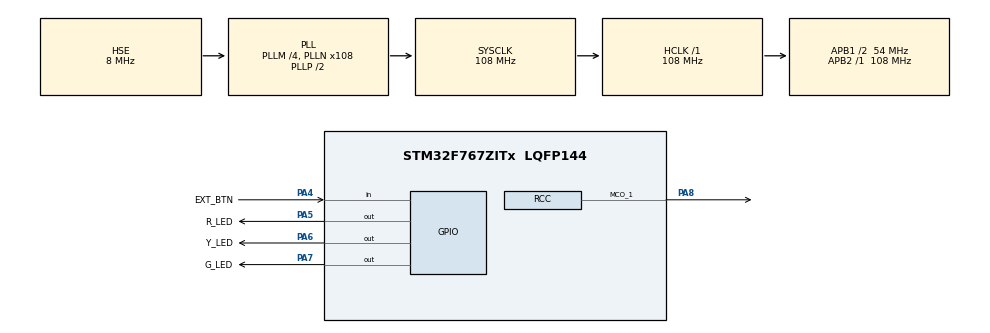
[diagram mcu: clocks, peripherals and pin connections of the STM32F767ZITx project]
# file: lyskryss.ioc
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Mcu.Family=STM32F7
Mcu.Name=STM32F767ZITx
Mcu.Package=LQFP144
NVIC.PriorityGroup=NVIC_PRIORITYGROUP_4
PA4.GPIO_Label=EXT_BTN
PA4.Signal=GPIO_Input
PA5.GPIO_Label=R_LED
PA5.Signal=GPIO_Output
PA6.GPIO_Label=Y_LED
PA6.Signal=GPIO_Output
PA7.GPIO_Label=G_LED
PA7.Signal=GPIO_Output
PA8.Mode=Clock-out-1
PA8.Signal=RCC_MCO_1
PH0/OSC_IN.Mode=HSE-External-Oscillator
PH0/OSC_IN.Signal=RCC_OSC_IN
PH1/OSC_OUT.Mode=HSE-External-Oscillator
PH1/OSC_OUT.Signal=RCC_OSC_OUT
ProjectManager.HeapSize=0x200
ProjectManager.StackSize=0x400
ProjectManager.TargetToolchain=STM32CubeIDE
RCC.48MHZClocksFreq_Value=24000000
RCC.AHBFreq_Value=108000000
RCC.APB1CLKDivider=RCC_HCLK_DIV2
RCC.APB1Freq_Value=54000000
RCC.APB1TimFreq_Value=108000000
RCC.APB2Freq_Value=108000000
RCC.APB2TimFreq_Value=108000000
RCC.CortexFreq_Value=108000000
RCC.HCLKFreq_Value=108000000
RCC.HSE_VALUE=8000000
RCC.HSI_VALUE=16000000
RCC.LSE_VALUE=32768
RCC.PLLM=4
RCC.PLLMUL=RCC_PLL_MUL9
RCC.PLLN=108
RCC.PLLSourceVirtual=RCC_PLLSOURCE_HSE
RCC.PRESCALERUSB=RCC_USBCLKSOURCE_PLL_DIV1_5
RCC.SYSCLKFreq_VALUE=108000000
RCC.SYSCLKSource=RCC_SYSCLKSOURCE_PLLCLK
RCC.SYSCLKSourceVirtual=RCC_SYSCLKSOURCE_PLLCLK
RCC.USBFreq_Value=108000000
RCC.VCOOutputFreq_Value=216000000
TIM2.Prescaler=54-1
VP_TIM2_VS_ClockSourceINT.Mode=Internal
board=NUCLEO-F767ZI

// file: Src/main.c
/* USER CODE BEGIN Header */
/**
  ******************************************************************************
  * @file           : main.c
  * @brief          : Main program body
  ******************************************************************************
  * @attention
  *
  * Copyright (c) 2025 STMicroelectronics.
  * All rights reserved.
  *
  * This software is licensed under terms that can be found in the LICENSE file
  * in the root directory of this software component.
  * If no LICENSE file comes with this software, it is provided AS-IS.
  *
  ******************************************************************************
  */
/* USER CODE END Header */
#include "main.h"
#include <stdlib.h>

TIM_HandleTypeDef htim2;

void SystemClock_Config(void);
static void MX_GPIO_Init(void);
static void MX_TIM2_Init(void);

/* USER CODE BEGIN 0 */

void delay_ms(uint32_t ms)
{
  __HAL_TIM_SET_COUNTER(&htim2, 0);
  while (__HAL_TIM_GET_COUNTER(&htim2) < ms * 1000);
}

/* USER CODE END 0 */

int main(void)
{

  /* MCU Configuration--------------------------------------------------------*/

  /* Reset of all peripherals, Initializes the Flash interface and the Systick. */
  HAL_Init();

  /* Configure the system clock */
  SystemClock_Config();

  /* Initialize all configured peripherals */
  MX_GPIO_Init();
  MX_TIM2_Init();
  /* USER CODE BEGIN 2 */

  HAL_TIM_Base_Start(&htim2);
  //Passer på at alle lys er av før enn startar
  HAL_GPIO_WritePin(GPIOA, R_LED_Pin|Y_LED_Pin|G_LED_Pin, GPIO_PIN_RESET);

  /* USER CODE END 2 */

  /* Infinite loop */
  while (1)
  {

    /* USER CODE BEGIN 3 */
    // === Rød ===
    HAL_GPIO_WritePin(GPIOA, R_LED_Pin, GPIO_PIN_SET);     // Rød på
    HAL_GPIO_WritePin(GPIOA, Y_LED_Pin | G_LED_Pin, GPIO_PIN_RESET);   // Gul og Grønn av

    uint32_t rTime = 20000; // 20s
    uint32_t elapsed = 0;
    while (elapsed < rTime) {
        if (HAL_GPIO_ReadPin(GPIOA, EXT_BTN_Pin) == GPIO_PIN_SET) {
            rTime += 10000; // 10s
        }
        delay_ms(100);
        elapsed += 100;
    }

    // === Rød + Gul ===
    HAL_GPIO_WritePin(GPIOA, R_LED_Pin | Y_LED_Pin, GPIO_PIN_SET);     // Rød og Gul på
    HAL_GPIO_WritePin(GPIOA, G_LED_Pin, GPIO_PIN_RESET);   // Grønn av
    delay_ms(5000); // 5s

    // === Grønn ===
    HAL_GPIO_WritePin(GPIOA, R_LED_Pin | Y_LED_Pin, GPIO_PIN_RESET);   // Rød og Gul av
    HAL_GPIO_WritePin(GPIOA, G_LED_Pin, GPIO_PIN_SET);     // Grønn på

    uint32_t gTime = 10000; // 10s
    elapsed = 0;
    int extPressed = 0;
    while (elapsed < gTime) {
        if (HAL_GPIO_ReadPin(GPIOA, EXT_BTN_Pin) == GPIO_PIN_SET) {
            extPressed = 1;
            break;
        }
        delay_ms(100);
        elapsed += 100;
    }

    if (extPressed) {
        // Pedestrian pressed during green
        HAL_GPIO_WritePin(GPIOA, R_LED_Pin, GPIO_PIN_RESET);   // Rød av
        HAL_GPIO_WritePin(GPIOA, Y_LED_Pin | G_LED_Pin, GPIO_PIN_SET);     // Gul og Grønn på
        delay_ms(5000); // 5s

        HAL_GPIO_WritePin(GPIOA, R_LED_Pin, GPIO_PIN_SET);     // Rød På
        HAL_GPIO_WritePin(GPIOA, Y_LED_Pin | G_LED_Pin, GPIO_PIN_RESET);   // Gul og Grønn av
        delay_ms(20000);  // 20s
    }
  }
  /* USER CODE END 3 */
}

void SystemClock_Config(void)
{
  RCC_OscInitTypeDef RCC_OscInitStruct = {0};
  RCC_ClkInitTypeDef RCC_ClkInitStruct = {0};

  /** Configure the main internal regulator output voltage
  */
  __HAL_RCC_PWR_CLK_ENABLE();
  __HAL_PWR_VOLTAGESCALING_CONFIG(PWR_REGULATOR_VOLTAGE_SCALE3);

  /** Initializes the RCC Oscillators according to the specified parameters
  * in the RCC_OscInitTypeDef structure.
  */
  RCC_OscInitStruct.OscillatorType = RCC_OSCILLATORTYPE_HSI|RCC_OSCILLATORTYPE_HSE;
  RCC_OscInitStruct.HSEState = RCC_HSE_ON;
  RCC_OscInitStruct.HSIState = RCC_HSI_ON;
  RCC_OscInitStruct.HSICalibrationValue = RCC_HSICALIBRATION_DEFAULT;
  RCC_OscInitStruct.PLL.PLLState = RCC_PLL_ON;
  RCC_OscInitStruct.PLL.PLLSource = RCC_PLLSOURCE_HSE;
  RCC_OscInitStruct.PLL.PLLM = 4;
  RCC_OscInitStruct.PLL.PLLN = 108;
  RCC_OscInitStruct.PLL.PLLP = RCC_PLLP_DIV2;
  RCC_OscInitStruct.PLL.PLLQ = 2;
  RCC_OscInitStruct.PLL.PLLR = 2;
  if (HAL_RCC_OscConfig(&RCC_OscInitStruct) != HAL_OK)
  {
    Error_Handler();
  }

  /** Activate the Over-Drive mode
  */
  if (HAL_PWREx_EnableOverDrive() != HAL_OK)
  {
    Error_Handler();
  }

  /** Initializes the CPU, AHB and APB buses clocks
  */
  RCC_ClkInitStruct.ClockType = RCC_CLOCKTYPE_HCLK|RCC_CLOCKTYPE_SYSCLK
                              |RCC_CLOCKTYPE_PCLK1|RCC_CLOCKTYPE_PCLK2;
  RCC_ClkInitStruct.SYSCLKSource = RCC_SYSCLKSOURCE_PLLCLK;
  RCC_ClkInitStruct.AHBCLKDivider = RCC_SYSCLK_DIV1;
  RCC_ClkInitStruct.APB1CLKDivider = RCC_HCLK_DIV2;
  RCC_ClkInitStruct.APB2CLKDivider = RCC_HCLK_DIV1;

  if (HAL_RCC_ClockConfig(&RCC_ClkInitStruct, FLASH_LATENCY_3) != HAL_OK)
  {
    Error_Handler();
  }
  HAL_RCC_MCOConfig(RCC_MCO1, RCC_MCO1SOURCE_HSI, RCC_MCODIV_1);
}

static void MX_TIM2_Init(void)
{

  TIM_ClockConfigTypeDef sClockSourceConfig = {0};
  TIM_MasterConfigTypeDef sMasterConfig = {0};

  htim2.Instance = TIM2;
  htim2.Init.Prescaler = 54-1;
  htim2.Init.CounterMode = TIM_COUNTERMODE_UP;
  htim2.Init.Period = 4294967295;
  htim2.Init.ClockDivision = TIM_CLOCKDIVISION_DIV1;
  htim2.Init.AutoReloadPreload = TIM_AUTORELOAD_PRELOAD_DISABLE;
  if (HAL_TIM_Base_Init(&htim2) != HAL_OK)
  {
    Error_Handler();
  }
  sClockSourceConfig.ClockSource = TIM_CLOCKSOURCE_INTERNAL;
  if (HAL_TIM_ConfigClockSource(&htim2, &sClockSourceConfig) != HAL_OK)
  {
    Error_Handler();
  }
  sMasterConfig.MasterOutputTrigger = TIM_TRGO_RESET;
  sMasterConfig.MasterSlaveMode = TIM_MASTERSLAVEMODE_DISABLE;
  if (HAL_TIMEx_MasterConfigSynchronization(&htim2, &sMasterConfig) != HAL_OK)
  {
    Error_Handler();
  }

}

static void MX_GPIO_Init(void)
{
  GPIO_InitTypeDef GPIO_InitStruct = {0};

  /* GPIO Ports Clock Enable */
  __HAL_RCC_GPIOH_CLK_ENABLE();
  __HAL_RCC_GPIOA_CLK_ENABLE();

  /*Configure GPIO pin Output Level */
  HAL_GPIO_WritePin(GPIOA, R_LED_Pin|Y_LED_Pin|G_LED_Pin, GPIO_PIN_RESET);

  /*Configure GPIO pin : EXT_BTN_Pin */
  GPIO_InitStruct.Pin = EXT_BTN_Pin;
  GPIO_InitStruct.Mode = GPIO_MODE_INPUT;
  GPIO_InitStruct.Pull = GPIO_NOPULL;
  HAL_GPIO_Init(EXT_BTN_GPIO_Port, &GPIO_InitStruct);

  /*Configure GPIO pins : R_LED_Pin Y_LED_Pin G_LED_Pin */
  GPIO_InitStruct.Pin = R_LED_Pin|Y_LED_Pin|G_LED_Pin;
  GPIO_InitStruct.Mode = GPIO_MODE_OUTPUT_PP;
  GPIO_InitStruct.Pull = GPIO_NOPULL;
  GPIO_InitStruct.Speed = GPIO_SPEED_FREQ_LOW;
  HAL_GPIO_Init(GPIOA, &GPIO_InitStruct);

  /*Configure GPIO pin : PA8 */
  GPIO_InitStruct.Pin = GPIO_PIN_8;
  GPIO_InitStruct.Mode = GPIO_MODE_AF_PP;
  GPIO_InitStruct.Pull = GPIO_NOPULL;
  GPIO_InitStruct.Speed = GPIO_SPEED_FREQ_LOW;
  GPIO_InitStruct.Alternate = GPIO_AF0_MCO;
  HAL_GPIO_Init(GPIOA, &GPIO_InitStruct);

}

void Error_Handler(void)
{
  __disable_irq();
  while (1)
  {
  }
}
